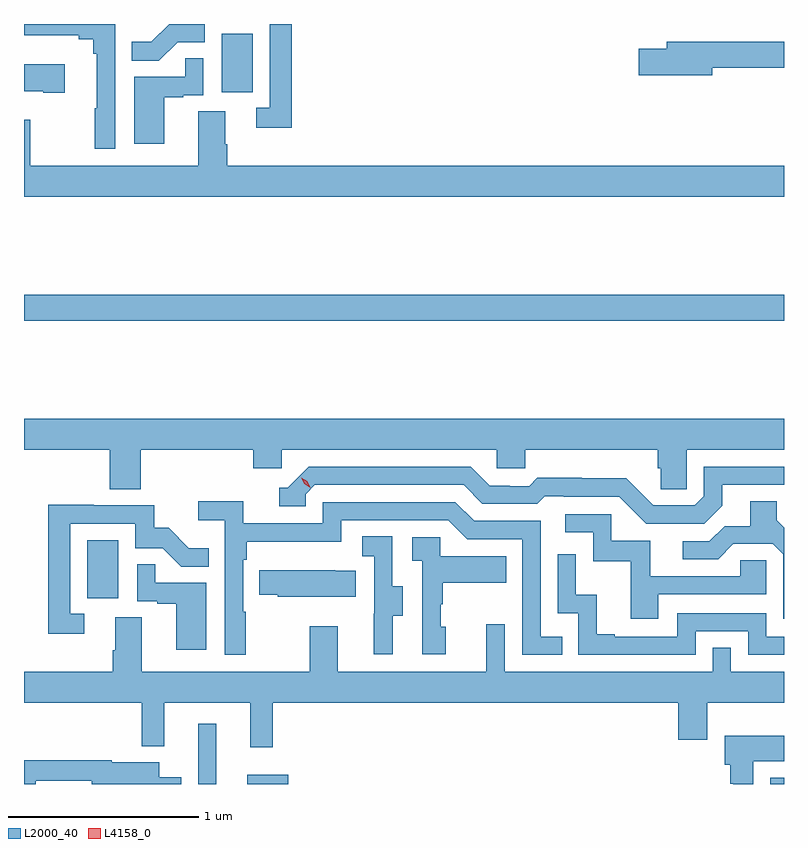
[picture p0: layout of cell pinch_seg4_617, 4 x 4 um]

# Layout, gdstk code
import gdstk
lib = gdstk.Library(unit=1e-6, precision=1e-09)
def R(c, l, rs):  # rectangles x0, y0, x1, y1
    for r in rs: c.add(gdstk.rectangle(r[:2], r[2:], *l))
def P(c, l, *ps):  # polygons
    for p in ps: c.add(gdstk.Polygon(p, *l))
L2000_40 = (2000, 40)
L4158_0 = (4158, 0)

pinch_seg4_617 = lib.new_cell('pinch_seg4_617')
R(pinch_seg4_617, L2000_40, [(1070.553,757.765,1070.65,758.083), (1070.813,757.765,1071.028,757.813), (1073.564,757.765,1073.637,757.798), (1069.97,758.742,1070.134,759.049), (1069.637,760.204,1073.637,760.34), (1070.678,761.406,1070.842,761.713)])
P(pinch_seg4_617, L2000_40, [(1070.118,761.765),(1069.637,761.765),(1069.637,761.705),(1069.925,761.705),(1069.925,761.686),(1070.002,761.686),(1070.002,761.609),(1070.021,761.609),(1070.021,761.321),(1070.01,761.321),(1070.01,761.109),(1070.118,761.109)],
  [(1071.047,761.765),(1070.931,761.765),(1070.931,761.325),(1070.859,761.325),(1070.859,761.22),(1071.047,761.22)],
  [(1070.445,761.67),(1070.589,761.67),(1070.589,761.765),(1070.401,761.765),(1070.307,761.671),(1070.203,761.671),(1070.203,761.572),(1070.347,761.572)],
  [(1073.26,761.536),(1073.637,761.536),(1073.637,761.672),(1073.021,761.672),(1073.021,761.636),(1072.872,761.636),(1072.872,761.494),(1073.26,761.494)],
  [(1070.374,761.379),(1070.474,761.379),(1070.474,761.391),(1070.58,761.391),(1070.58,761.585),(1070.485,761.585),(1070.485,761.487),(1070.216,761.487),(1070.216,761.136),(1070.374,761.136)],
  [(1069.852,761.554),(1069.637,761.554),(1069.637,761.411),(1069.739,761.411),(1069.739,761.404),(1069.852,761.404)],
  [(1073.637,761.02),(1070.708,761.02),(1070.708,761.132),(1070.695,761.132),(1070.695,761.306),(1070.555,761.306),(1070.555,761.02),(1069.671,761.02),(1069.671,761.26),(1069.637,761.26),(1069.637,760.856),(1073.637,760.856)],
  [(1070.252,759.524),(1070.843,759.524),(1070.843,759.426),(1070.994,759.426),(1070.994,759.524),(1072.125,759.524),(1072.125,759.426),(1072.275,759.426),(1072.275,759.524),(1072.973,759.524),(1072.973,759.426),(1072.987,759.426),(1072.987,759.316),(1073.124,759.316),(1073.124,759.524),(1073.637,759.524),(1073.637,759.688),(1069.637,759.688),(1069.637,759.524),(1070.087,759.524),(1070.087,759.316),(1070.252,759.316)],
  [(1073.311,759.229),(1073.311,759.339),(1073.637,759.339),(1073.637,759.435),(1073.214,759.435),(1073.214,759.279),(1073.166,759.231),(1072.95,759.231),(1072.808,759.373),(1072.572,759.373),(1072.572,759.376),(1072.339,759.376),(1072.297,759.333),(1072.194,759.333),(1072.194,759.336),(1072.087,759.336),(1071.988,759.435),(1071.135,759.435),(1071.024,759.324),(1070.981,759.324),(1070.981,759.228),(1071.12,759.228),(1071.12,759.291),(1071.168,759.339),(1071.951,759.339),(1072.05,759.24),(1072.339,759.24),(1072.378,759.279),(1072.477,759.279),(1072.477,759.276),(1072.77,759.276),(1072.911,759.135),(1073.217,759.135)],
  [(1073.637,759.114),(1073.599,759.152),(1073.599,759.254),(1073.459,759.254),(1073.459,759.122),(1073.324,759.122),(1073.244,759.042),(1073.103,759.042),(1073.103,758.949),(1073.29,758.949),(1073.371,759.03),(1073.577,759.03),(1073.634,758.973),(1073.634,758.634),(1073.637,758.634)],
  [(1070.803,758.672),(1070.79,758.672),(1070.79,758.945),(1070.81,758.945),(1070.81,759.041),(1071.306,759.041),(1071.306,759.153),(1071.87,759.153),(1071.969,759.054),(1072.26,759.054),(1072.26,758.445),(1072.469,758.445),(1072.469,758.541),(1072.356,758.541),(1072.356,759.15),(1072.006,759.15),(1071.907,759.249),(1071.21,759.249),(1071.21,759.138),(1070.792,759.138),(1070.792,759.254),(1070.553,759.254),(1070.553,759.152),(1070.694,759.152),(1070.694,758.445),(1070.803,758.445)],
  [(1069.954,758.661),(1069.881,758.661),(1069.881,759.135),(1070.223,759.135),(1070.223,759.006),(1070.367,759.006),(1070.465,758.908),(1070.609,758.908),(1070.609,759.007),(1070.505,759.007),(1070.398,759.114),(1070.322,759.114),(1070.322,759.231),(1070.003,759.231),(1070.003,759.236),(1069.765,759.236),(1069.765,758.556),(1069.954,758.556)],
  [(1072.975,758.763),(1073.544,758.763),(1073.544,758.943),(1073.407,758.943),(1073.407,758.859),(1072.933,758.859),(1072.933,759.045),(1072.728,759.045),(1072.728,759.186),(1072.485,759.186),(1072.485,759.09),(1072.632,759.09),(1072.632,758.937),(1072.831,758.937),(1072.831,758.634),(1072.975,758.634)],
  [(1071.577,758.65),(1071.631,758.65),(1071.631,758.805),(1071.576,758.805),(1071.576,759.068),(1071.417,759.068),(1071.417,758.965),(1071.48,758.965),(1071.48,758.661),(1071.479,758.661),(1071.479,758.448),(1071.577,758.448)],
  [(1071.856,758.592),(1071.831,758.592),(1071.831,758.711),(1071.841,758.711),(1071.841,758.825),(1072.175,758.825),(1072.175,758.965),(1071.828,758.965),(1071.828,759.063),(1071.681,759.063),(1071.681,758.939),(1071.732,758.939),(1071.732,758.448),(1071.856,758.448)],
  [(1073.172,758.568),(1073.448,758.568),(1073.448,758.445),(1073.637,758.445),(1073.637,758.541),(1073.544,758.541),(1073.544,758.664),(1073.076,758.664),(1073.076,758.541),(1072.747,758.541),(1072.747,758.554),(1072.652,758.554),(1072.652,758.762),(1072.542,758.762),(1072.542,758.974),(1072.446,758.974),(1072.446,758.664),(1072.554,758.664),(1072.554,758.445),(1073.172,758.445)],
  [(1070.596,758.823),(1070.327,758.823),(1070.327,758.921),(1070.232,758.921),(1070.232,758.727),(1070.339,758.727),(1070.339,758.715),(1070.438,758.715),(1070.438,758.472),(1070.596,758.472)],
  [(1071.383,758.887),(1071.275,758.887),(1071.275,758.89),(1070.875,758.89),(1070.875,758.761),(1070.973,758.761),(1070.973,758.75),(1071.383,758.75)],
  [(1070.945,758.192),(1073.081,758.192),(1073.081,757.998),(1073.233,757.998),(1073.233,758.192),(1073.637,758.192),(1073.637,758.356),(1073.358,758.356),(1073.358,758.483),(1073.262,758.483),(1073.262,758.356),(1072.167,758.356),(1072.167,758.605),(1072.07,758.605),(1072.07,758.356),(1071.289,758.356),(1071.289,758.596),(1071.142,758.596),(1071.142,758.356),(1070.257,758.356),(1070.257,758.642),(1070.117,758.642),(1070.117,758.468),(1070.105,758.468),(1070.105,758.356),(1069.637,758.356),(1069.637,758.192),(1070.257,758.192),(1070.257,757.964),(1070.375,757.964),(1070.375,758.192),(1070.828,758.192),(1070.828,757.959),(1070.945,757.959)],
  [(1073.476,757.886),(1073.637,757.886),(1073.637,758.02),(1073.324,758.02),(1073.324,757.866),(1073.354,757.866),(1073.354,757.766),(1073.369,757.766),(1073.369,757.765),(1073.476,757.765)],
  [(1069.698,757.781),(1069.994,757.781),(1069.994,757.765),(1070.464,757.765),(1070.464,757.801),(1070.35,757.801),(1070.35,757.879),(1070.098,757.879),(1070.098,757.891),(1069.637,757.891),(1069.637,757.765),(1069.698,757.765)])
P(pinch_seg4_617, L4158_0, [(1071.143,759.324),(1071.113,759.344),(1071.097,759.377),(1071.097,759.378),(1071.097,759.378),(1071.128,759.358),(1071.144,759.325),(1071.144,759.324)])

lib.write_gds('pinch_seg4_617.gds')
